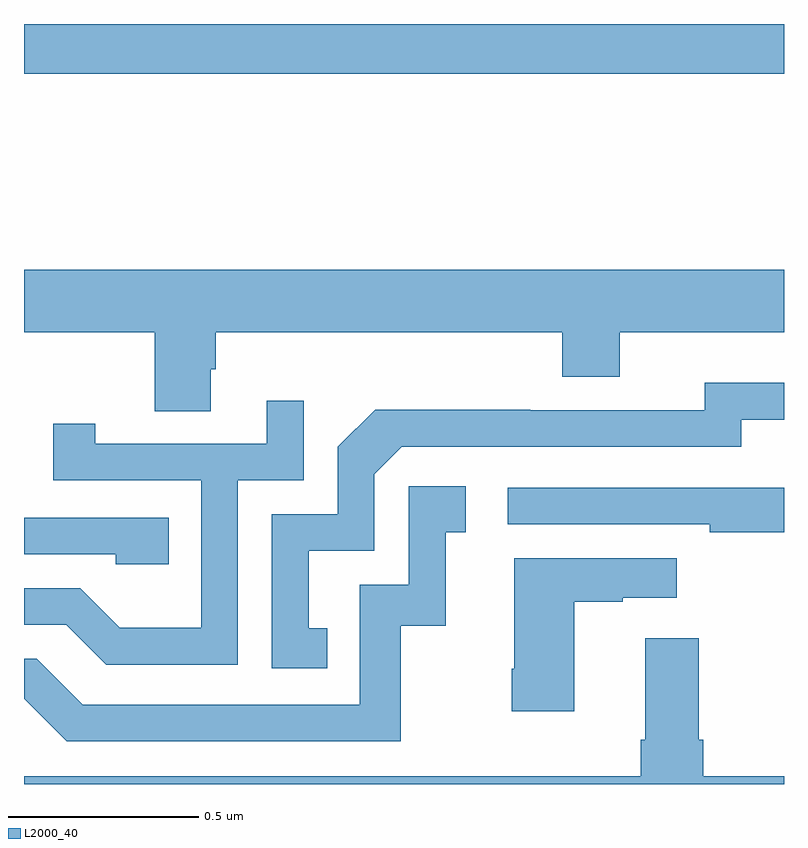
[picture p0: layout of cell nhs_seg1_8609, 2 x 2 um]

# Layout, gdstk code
import gdstk
lib = gdstk.Library(unit=1e-6, precision=1e-09)
def R(c, l, rs):  # rectangles x0, y0, x1, y1
    for r in rs: c.add(gdstk.rectangle(r[:2], r[2:], *l))
def P(c, l, *ps):  # polygons
    for p in ps: c.add(gdstk.Polygon(p, *l))
L2000_40 = (2000, 40)

nhs_seg1_8609 = lib.new_cell('nhs_seg1_8609')
R(nhs_seg1_8609, L2000_40, [(218,563.068,220,563.199)])
P(nhs_seg1_8609, L2000_40, [(218.491,562.29),(218.504,562.29),(218.504,562.388),(219.416,562.388),(219.416,562.271),(219.568,562.271),(219.568,562.388),(220,562.388),(220,562.552),(218,562.552),(218,562.388),(218.344,562.388),(218.344,562.18),(218.491,562.18)],
  [(218.798,561.609),(218.749,561.609),(218.749,561.813),(218.922,561.813),(218.922,562.014),(218.994,562.086),(219.888,562.086),(219.888,562.158),(220,562.158),(220,562.255),(219.792,562.255),(219.792,562.182),(219.332,562.182),(219.332,562.184),(218.924,562.184),(218.826,562.086),(218.826,561.909),(218.652,561.909),(218.652,561.504),(218.798,561.504)],
  [(218.562,561.999),(218.736,561.999),(218.736,562.207),(218.639,562.207),(218.639,562.095),(218.188,562.095),(218.188,562.147),(218.077,562.147),(218.077,561.999),(218.466,561.999),(218.466,561.61),(218.252,561.61),(218.148,561.714),(218,561.714),(218,561.618),(218.111,561.618),(218.216,561.513),(218.562,561.513)],
  [(218.992,561.615),(219.11,561.615),(219.11,561.861),(219.163,561.861),(219.163,561.982),(219.012,561.982),(219.012,561.723),(218.883,561.723),(218.883,561.408),(218.154,561.408),(218.034,561.528),(218,561.528),(218,561.424),(218.112,561.312),(218.992,561.312)],
  [(220,561.978),(219.273,561.978),(219.273,561.882),(219.805,561.882),(219.805,561.862),(220,561.862)],
  [(218.381,561.9),(218,561.9),(218,561.804),(218.241,561.804),(218.241,561.777),(218.381,561.777)],
  [(219.448,561.679),(219.575,561.679),(219.575,561.689),(219.718,561.689),(219.718,561.793),(219.29,561.793),(219.29,561.502),(219.283,561.502),(219.283,561.39),(219.448,561.39)],
  [(220,561.22),(219.788,561.22),(219.788,561.316),(219.775,561.316),(219.775,561.583),(219.635,561.583),(219.635,561.316),(219.623,561.316),(219.623,561.22),(218,561.22),(218,561.199),(220,561.199)])

lib.write_gds('nhs_seg1_8609.gds')
